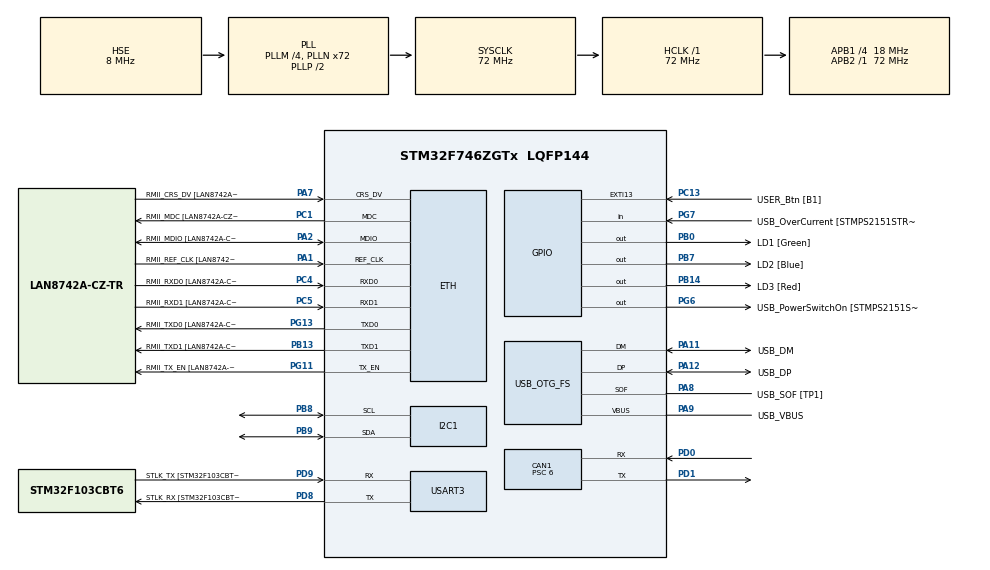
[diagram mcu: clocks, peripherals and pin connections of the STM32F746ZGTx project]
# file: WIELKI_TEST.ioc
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CAN1.BS1=CAN_BS1_4TQ
CAN1.CalculateBaudRate=499999
CAN1.CalculateTimeBit=2000
CAN1.CalculateTimeQuantum=333.33333333333337
CAN1.Prescaler=6
CAN1.SJW=CAN_SJW_1TQ
ETH.MediaInterface=HAL_ETH_RMII_MODE
ETH.PHY_Name=LAN8742A_PHY_ADDRESS
ETH.PHY_Value=0
ETH.PhyAddress=0
I2C1.Timing=0x00404567
Mcu.Family=STM32F7
Mcu.Name=STM32F746ZGTx
Mcu.Package=LQFP144
NVIC.CAN1_RX0_IRQn=true\:0\:0\:false\:false\:true\:true\:true\:true
NVIC.CAN1_RX1_IRQn=true\:0\:0\:false\:false\:true\:true\:true\:true
NVIC.CAN1_SCE_IRQn=true\:0\:0\:false\:false\:true\:true\:true\:true
NVIC.CAN1_TX_IRQn=true\:0\:0\:false\:false\:true\:true\:true\:true
NVIC.PriorityGroup=NVIC_PRIORITYGROUP_4
PA1.GPIO_Label=RMII_REF_CLK [LAN8742A-CZ-TR_REFCLK0]
PA1.Mode=RMII
PA1.Signal=ETH_REF_CLK
PA10.GPIO_Label=USB_ID
PA10.Signal=USB_OTG_FS_ID
PA11.GPIO_Label=USB_DM
PA11.Mode=Device_Only
PA11.Signal=USB_OTG_FS_DM
PA12.GPIO_Label=USB_DP
PA12.Mode=Device_Only
PA12.Signal=USB_OTG_FS_DP
PA13.GPIO_Label=TMS
PA13.Mode=Serial_Wire
PA13.Signal=SYS_JTMS-SWDIO
PA14.GPIO_Label=TCK
PA14.Mode=Serial_Wire
PA14.Signal=SYS_JTCK-SWCLK
PA2.GPIO_Label=RMII_MDIO [LAN8742A-CZ-TR_MDIO]
PA2.Mode=RMII
PA2.Signal=ETH_MDIO
PA7.GPIO_Label=RMII_CRS_DV [LAN8742A-CZ-TR_CRS_DV]
PA7.Mode=RMII
PA7.Signal=ETH_CRS_DV
PA8.GPIO_Label=USB_SOF [TP1]
PA8.Mode=Activate_SOF_FS
PA8.Signal=USB_OTG_FS_SOF
PA9.GPIO_Label=USB_VBUS
PA9.Mode=Activate_VBUS
PA9.Signal=USB_OTG_FS_VBUS
PB0.GPIO_Label=LD1 [Green]
PB0.Signal=GPIO_Output
PB13.GPIO_Label=RMII_TXD1 [LAN8742A-CZ-TR_TXD1]
PB13.Mode=RMII
PB13.Signal=ETH_TXD1
PB14.GPIO_Label=LD3 [Red]
PB14.Signal=GPIO_Output
PB3.GPIO_Label=SW0
PB3.Signal=SYS_JTDO-SWO
PB7.GPIO_Label=LD2 [Blue]
PB7.Signal=GPIO_Output
PB8.Mode=I2C
PB8.Signal=I2C1_SCL
PB9.Mode=I2C
PB9.Signal=I2C1_SDA
PC1.GPIO_Label=RMII_MDC [LAN8742A-CZ-TR_MDC]
PC1.Mode=RMII
PC1.Signal=ETH_MDC
PC13.GPIO_Label=USER_Btn [B1]
PC13.Signal=GPXTI13
PC14/OSC32_IN.Mode=LSE-External-Oscillator
PC14/OSC32_IN.Signal=RCC_OSC32_IN
PC15/OSC32_OUT.Mode=LSE-External-Oscillator
PC15/OSC32_OUT.Signal=RCC_OSC32_OUT
PC4.GPIO_Label=RMII_RXD0 [LAN8742A-CZ-TR_RXD0]
PC4.Mode=RMII
PC4.Signal=ETH_RXD0
PC5.GPIO_Label=RMII_RXD1 [LAN8742A-CZ-TR_RXD1]
PC5.Mode=RMII
PC5.Signal=ETH_RXD1
PD0.Mode=CAN_Activate
PD0.Signal=CAN1_RX
PD1.Mode=CAN_Activate
PD1.Signal=CAN1_TX
PD8.GPIO_Label=STLK_RX [STM32F103CBT6_PA3]
PD8.GPIO_PuPd=GPIO_PULLUP
PD8.Mode=Asynchronous
PD8.Signal=USART3_TX
PD9.GPIO_Label=STLK_TX [STM32F103CBT6_PA2]
PD9.GPIO_PuPd=GPIO_PULLUP
PD9.Mode=Asynchronous
PD9.Signal=USART3_RX
PG11.GPIO_Label=RMII_TX_EN [LAN8742A-CZ-TR_TXEN]
PG11.Mode=RMII
PG11.Signal=ETH_TX_EN
PG13.GPIO_Label=RMII_TXD0 [LAN8742A-CZ-TR_TXD0]
PG13.Mode=RMII
PG13.Signal=ETH_TXD0
PG6.GPIO_Label=USB_PowerSwitchOn [STMPS2151STR_EN]
PG6.Signal=GPIO_Output
PG7.GPIO_Label=USB_OverCurrent [STMPS2151STR_FAULT]
PG7.Signal=GPIO_Input
PH0/OSC_IN.GPIO_Label=MCO [STM32F103CBT6_PA8]
PH0/OSC_IN.Mode=HSE-External-Clock-Source
PH0/OSC_IN.Signal=RCC_OSC_IN
PH1/OSC_OUT.Mode=HSE-External-Clock-Source
PH1/OSC_OUT.Signal=RCC_OSC_OUT
ProjectManager.HeapSize=0x200
ProjectManager.StackSize=0x400
ProjectManager.TargetToolchain=STM32CubeIDE
RCC.48MHZClocksFreq_Value=24000000
RCC.AHBFreq_Value=72000000
RCC.APB1CLKDivider=RCC_HCLK_DIV4
RCC.APB1Freq_Value=18000000
RCC.APB1TimFreq_Value=36000000
RCC.APB2Freq_Value=72000000
RCC.APB2TimFreq_Value=72000000
RCC.CortexFreq_Value=72000000
RCC.HCLKFreq_Value=72000000
RCC.HSE_VALUE=8000000
RCC.HSI_VALUE=16000000
RCC.PLLM=4
RCC.PLLMUL=RCC_PLL_MUL9
RCC.PLLN=72
RCC.PLLQ=3
RCC.PRESCALERUSB=RCC_USBCLKSOURCE_PLL_DIV1_5
RCC.SYSCLKFreq_VALUE=72000000
RCC.SYSCLKSource=RCC_SYSCLKSOURCE_PLLCLK
RCC.SYSCLKSourceVirtual=RCC_SYSCLKSOURCE_PLLCLK
RCC.USBFreq_Value=48000000
RCC.VCOOutputFreq_Value=144000000
USART3.VirtualMode-Asynchronous=VM_ASYNC
USB_OTG_FS.VirtualMode=Device_Only
board=NUCLEO-F746ZG

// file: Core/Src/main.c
/* USER CODE BEGIN Header */
/**
  ******************************************************************************
  * @file           : main.c
  * @brief          : Main program body
  ******************************************************************************
  * @attention
  *
  * Copyright (c) 2025 STMicroelectronics.
  * All rights reserved.
  *
  * This software is licensed under terms that can be found in the LICENSE file
  * in the root directory of this software component.
  * If no LICENSE file comes with this software, it is provided AS-IS.
  *
  ******************************************************************************
  */
/* USER CODE END Header */
#include "main.h"
#include "string.h"

#if defined ( __ICCARM__ ) /*!< IAR Compiler */
#pragma location=0x2004c000
ETH_DMADescTypeDef  DMARxDscrTab[ETH_RX_DESC_CNT]; /* Ethernet Rx DMA Descriptors */
#pragma location=0x2004c0a0
ETH_DMADescTypeDef  DMATxDscrTab[ETH_TX_DESC_CNT]; /* Ethernet Tx DMA Descriptors */

#elif defined ( __CC_ARM )  /* MDK ARM Compiler */

__attribute__((at(0x2004c000))) ETH_DMADescTypeDef  DMARxDscrTab[ETH_RX_DESC_CNT]; /* Ethernet Rx DMA Descriptors */
__attribute__((at(0x2004c0a0))) ETH_DMADescTypeDef  DMATxDscrTab[ETH_TX_DESC_CNT]; /* Ethernet Tx DMA Descriptors */

#elif defined ( __GNUC__ ) /* GNU Compiler */

ETH_DMADescTypeDef DMARxDscrTab[ETH_RX_DESC_CNT] __attribute__((section(".RxDecripSection"))); /* Ethernet Rx DMA Descriptors */
ETH_DMADescTypeDef DMATxDscrTab[ETH_TX_DESC_CNT] __attribute__((section(".TxDecripSection")));   /* Ethernet Tx DMA Descriptors */
#endif

ETH_TxPacketConfig TxConfig;

CAN_HandleTypeDef hcan1;

ETH_HandleTypeDef heth;

I2C_HandleTypeDef hi2c1;

UART_HandleTypeDef huart3;

PCD_HandleTypeDef hpcd_USB_OTG_FS;

/* USER CODE BEGIN PV */
/* USER CODE BEGIN PV */

// Zmienne do podglądu w Live Expressions
volatile float VESC_Voltage = 0.0f;      // Napięcie baterii/zasilacza
volatile float VESC_MosfetTemp = 0.0f;   // Temperatura sterownika
volatile float VESC_MotorTemp = 0.0f;    // Temperatura silnika

/* USER CODE END PV */

void SystemClock_Config(void);
static void MX_GPIO_Init(void);
static void MX_ETH_Init(void);
static void MX_I2C1_Init(void);
static void MX_USART3_UART_Init(void);
static void MX_USB_OTG_FS_PCD_Init(void);
static void MX_CAN1_Init(void);

int main(void)
{

  /* MCU Configuration--------------------------------------------------------*/

  /* Reset of all peripherals, Initializes the Flash interface and the Systick. */
  HAL_Init();

  /* Configure the system clock */
  SystemClock_Config();

  /* Initialize all configured peripherals */
  MX_GPIO_Init();
  MX_ETH_Init();
  MX_I2C1_Init();
  MX_USART3_UART_Init();
  MX_USB_OTG_FS_PCD_Init();
  MX_CAN1_Init();
  /* USER CODE BEGIN 2 */
  // 1. Konfiguracja filtra CAN (przepuszcza WSZYSTKO)
    CAN_FilterTypeDef sFilterConfig;

    sFilterConfig.FilterBank = 0;
    sFilterConfig.FilterMode = CAN_FILTERMODE_IDMASK;
    sFilterConfig.FilterScale = CAN_FILTERSCALE_32BIT;
    sFilterConfig.FilterIdHigh = 0x0000;
    sFilterConfig.FilterIdLow = 0x0000;
    sFilterConfig.FilterMaskIdHigh = 0x0000;
    sFilterConfig.FilterMaskIdLow = 0x0000; // Maska 0 = brak filtrowania
    sFilterConfig.FilterFIFOAssignment = CAN_RX_FIFO0;
    sFilterConfig.FilterActivation = ENABLE;
    sFilterConfig.SlaveStartFilterBank = 14;

    if (HAL_CAN_ConfigFilter(&hcan1, &sFilterConfig) != HAL_OK)
    {
      Error_Handler();
    }

    // 2. Start modułu CAN
    if (HAL_CAN_Start(&hcan1) != HAL_OK)
    {
      Error_Handler();
    }

    // 3. Włączenie przerwania od przychodzącej wiadomości (FIFO 0)
    if (HAL_CAN_ActivateNotification(&hcan1, CAN_IT_RX_FIFO0_MSG_PENDING) != HAL_OK)
    {
      Error_Handler();
    }
  /* USER CODE END 2 */

  /* Infinite loop */
  while (1)
  {

  }
}

void SystemClock_Config(void)
{
  RCC_OscInitTypeDef RCC_OscInitStruct = {0};
  RCC_ClkInitTypeDef RCC_ClkInitStruct = {0};

  /** Configure LSE Drive Capability
  */
  HAL_PWR_EnableBkUpAccess();

  /** Configure the main internal regulator output voltage
  */
  __HAL_RCC_PWR_CLK_ENABLE();
  __HAL_PWR_VOLTAGESCALING_CONFIG(PWR_REGULATOR_VOLTAGE_SCALE3);

  /** Initializes the RCC Oscillators according to the specified parameters
  * in the RCC_OscInitTypeDef structure.
  */
  RCC_OscInitStruct.OscillatorType = RCC_OSCILLATORTYPE_HSE;
  RCC_OscInitStruct.HSEState = RCC_HSE_BYPASS;
  RCC_OscInitStruct.PLL.PLLState = RCC_PLL_ON;
  RCC_OscInitStruct.PLL.PLLSource = RCC_PLLSOURCE_HSE;
  RCC_OscInitStruct.PLL.PLLM = 4;
  RCC_OscInitStruct.PLL.PLLN = 72;
  RCC_OscInitStruct.PLL.PLLP = RCC_PLLP_DIV2;
  RCC_OscInitStruct.PLL.PLLQ = 3;
  if (HAL_RCC_OscConfig(&RCC_OscInitStruct) != HAL_OK)
  {
    Error_Handler();
  }

  /** Initializes the CPU, AHB and APB buses clocks
  */
  RCC_ClkInitStruct.ClockType = RCC_CLOCKTYPE_HCLK|RCC_CLOCKTYPE_SYSCLK
                              |RCC_CLOCKTYPE_PCLK1|RCC_CLOCKTYPE_PCLK2;
  RCC_ClkInitStruct.SYSCLKSource = RCC_SYSCLKSOURCE_PLLCLK;
  RCC_ClkInitStruct.AHBCLKDivider = RCC_SYSCLK_DIV1;
  RCC_ClkInitStruct.APB1CLKDivider = RCC_HCLK_DIV4;
  RCC_ClkInitStruct.APB2CLKDivider = RCC_HCLK_DIV1;

  if (HAL_RCC_ClockConfig(&RCC_ClkInitStruct, FLASH_LATENCY_2) != HAL_OK)
  {
    Error_Handler();
  }
}

static void MX_CAN1_Init(void)
{

  hcan1.Instance = CAN1;
  hcan1.Init.Prescaler = 6;
  hcan1.Init.Mode = CAN_MODE_NORMAL;
  hcan1.Init.SyncJumpWidth = CAN_SJW_1TQ;
  hcan1.Init.TimeSeg1 = CAN_BS1_4TQ;
  hcan1.Init.TimeSeg2 = CAN_BS2_1TQ;
  hcan1.Init.TimeTriggeredMode = DISABLE;
  hcan1.Init.AutoBusOff = DISABLE;
  hcan1.Init.AutoWakeUp = DISABLE;
  hcan1.Init.AutoRetransmission = DISABLE;
  hcan1.Init.ReceiveFifoLocked = DISABLE;
  hcan1.Init.TransmitFifoPriority = DISABLE;
  if (HAL_CAN_Init(&hcan1) != HAL_OK)
  {
    Error_Handler();
  }

}

static void MX_ETH_Init(void)
{

   static uint8_t MACAddr[6];

  heth.Instance = ETH;
  MACAddr[0] = 0x00;
  MACAddr[1] = 0x80;
  MACAddr[2] = 0xE1;
  MACAddr[3] = 0x00;
  MACAddr[4] = 0x00;
  MACAddr[5] = 0x00;
  heth.Init.MACAddr = &MACAddr[0];
  heth.Init.MediaInterface = HAL_ETH_RMII_MODE;
  heth.Init.TxDesc = DMATxDscrTab;
  heth.Init.RxDesc = DMARxDscrTab;
  heth.Init.RxBuffLen = 1524;

  if (HAL_ETH_Init(&heth) != HAL_OK)
  {
    Error_Handler();
  }

  memset(&TxConfig, 0 , sizeof(ETH_TxPacketConfig));
  TxConfig.Attributes = ETH_TX_PACKETS_FEATURES_CSUM | ETH_TX_PACKETS_FEATURES_CRCPAD;
  TxConfig.ChecksumCtrl = ETH_CHECKSUM_IPHDR_PAYLOAD_INSERT_PHDR_CALC;
  TxConfig.CRCPadCtrl = ETH_CRC_PAD_INSERT;

}

static void MX_I2C1_Init(void)
{

  hi2c1.Instance = I2C1;
  hi2c1.Init.Timing = 0x00404567;
  hi2c1.Init.OwnAddress1 = 0;
  hi2c1.Init.AddressingMode = I2C_ADDRESSINGMODE_7BIT;
  hi2c1.Init.DualAddressMode = I2C_DUALADDRESS_DISABLE;
  hi2c1.Init.OwnAddress2 = 0;
  hi2c1.Init.OwnAddress2Masks = I2C_OA2_NOMASK;
  hi2c1.Init.GeneralCallMode = I2C_GENERALCALL_DISABLE;
  hi2c1.Init.NoStretchMode = I2C_NOSTRETCH_DISABLE;
  if (HAL_I2C_Init(&hi2c1) != HAL_OK)
  {
    Error_Handler();
  }

  /** Configure Analogue filter
  */
  if (HAL_I2CEx_ConfigAnalogFilter(&hi2c1, I2C_ANALOGFILTER_ENABLE) != HAL_OK)
  {
    Error_Handler();
  }

  /** Configure Digital filter
  */
  if (HAL_I2CEx_ConfigDigitalFilter(&hi2c1, 0) != HAL_OK)
  {
    Error_Handler();
  }

}

static void MX_USART3_UART_Init(void)
{

  huart3.Instance = USART3;
  huart3.Init.BaudRate = 115200;
  huart3.Init.WordLength = UART_WORDLENGTH_8B;
  huart3.Init.StopBits = UART_STOPBITS_1;
  huart3.Init.Parity = UART_PARITY_NONE;
  huart3.Init.Mode = UART_MODE_TX_RX;
  huart3.Init.HwFlowCtl = UART_HWCONTROL_NONE;
  huart3.Init.OverSampling = UART_OVERSAMPLING_16;
  huart3.Init.OneBitSampling = UART_ONE_BIT_SAMPLE_DISABLE;
  huart3.AdvancedInit.AdvFeatureInit = UART_ADVFEATURE_NO_INIT;
  if (HAL_UART_Init(&huart3) != HAL_OK)
  {
    Error_Handler();
  }

}

static void MX_USB_OTG_FS_PCD_Init(void)
{

  hpcd_USB_OTG_FS.Instance = USB_OTG_FS;
  hpcd_USB_OTG_FS.Init.dev_endpoints = 6;
  hpcd_USB_OTG_FS.Init.speed = PCD_SPEED_FULL;
  hpcd_USB_OTG_FS.Init.dma_enable = DISABLE;
  hpcd_USB_OTG_FS.Init.phy_itface = PCD_PHY_EMBEDDED;
  hpcd_USB_OTG_FS.Init.Sof_enable = ENABLE;
  hpcd_USB_OTG_FS.Init.low_power_enable = DISABLE;
  hpcd_USB_OTG_FS.Init.lpm_enable = DISABLE;
  hpcd_USB_OTG_FS.Init.vbus_sensing_enable = ENABLE;
  hpcd_USB_OTG_FS.Init.use_dedicated_ep1 = DISABLE;
  if (HAL_PCD_Init(&hpcd_USB_OTG_FS) != HAL_OK)
  {
    Error_Handler();
  }

}

static void MX_GPIO_Init(void)
{
  GPIO_InitTypeDef GPIO_InitStruct = {0};

  /* GPIO Ports Clock Enable */
  __HAL_RCC_GPIOC_CLK_ENABLE();
  __HAL_RCC_GPIOH_CLK_ENABLE();
  __HAL_RCC_GPIOA_CLK_ENABLE();
  __HAL_RCC_GPIOB_CLK_ENABLE();
  __HAL_RCC_GPIOD_CLK_ENABLE();
  __HAL_RCC_GPIOG_CLK_ENABLE();

  /*Configure GPIO pin Output Level */
  HAL_GPIO_WritePin(GPIOB, LD1_Pin|LD3_Pin|LD2_Pin, GPIO_PIN_RESET);

  /*Configure GPIO pin Output Level */
  HAL_GPIO_WritePin(USB_PowerSwitchOn_GPIO_Port, USB_PowerSwitchOn_Pin, GPIO_PIN_RESET);

  /*Configure GPIO pin : USER_Btn_Pin */
  GPIO_InitStruct.Pin = USER_Btn_Pin;
  GPIO_InitStruct.Mode = GPIO_MODE_IT_RISING;
  GPIO_InitStruct.Pull = GPIO_NOPULL;
  HAL_GPIO_Init(USER_Btn_GPIO_Port, &GPIO_InitStruct);

  /*Configure GPIO pins : LD1_Pin LD3_Pin LD2_Pin */
  GPIO_InitStruct.Pin = LD1_Pin|LD3_Pin|LD2_Pin;
  GPIO_InitStruct.Mode = GPIO_MODE_OUTPUT_PP;
  GPIO_InitStruct.Pull = GPIO_NOPULL;
  GPIO_InitStruct.Speed = GPIO_SPEED_FREQ_LOW;
  HAL_GPIO_Init(GPIOB, &GPIO_InitStruct);

  /*Configure GPIO pin : USB_PowerSwitchOn_Pin */
  GPIO_InitStruct.Pin = USB_PowerSwitchOn_Pin;
  GPIO_InitStruct.Mode = GPIO_MODE_OUTPUT_PP;
  GPIO_InitStruct.Pull = GPIO_NOPULL;
  GPIO_InitStruct.Speed = GPIO_SPEED_FREQ_LOW;
  HAL_GPIO_Init(USB_PowerSwitchOn_GPIO_Port, &GPIO_InitStruct);

  /*Configure GPIO pin : USB_OverCurrent_Pin */
  GPIO_InitStruct.Pin = USB_OverCurrent_Pin;
  GPIO_InitStruct.Mode = GPIO_MODE_INPUT;
  GPIO_InitStruct.Pull = GPIO_NOPULL;
  HAL_GPIO_Init(USB_OverCurrent_GPIO_Port, &GPIO_InitStruct);

}

/* USER CODE BEGIN 4 */
void HAL_CAN_RxFifo0Callback(FDCAN_HandleTypeDef *hfdcan, uint32_t RxFifo0ITs)
{
    // 1. Sprawdź, czy przerwanie dotyczy nowej wiadomości w FIFO0
    if ((RxFifo0ITs & FDCAN_IT_RX_FIFO0_NEW_MESSAGE) != 0)
    {
        FDCAN_RxHeaderTypeDef RxHeader;
        uint8_t RxData[8];

        // 2. Pobierz wiadomość
        if (HAL_FDCAN_GetRxMessage(hfdcan, FDCAN_RX_FIFO0, &RxHeader, RxData) == HAL_OK)
        {
            // --- LOGIKA DLA VESC ID = 3 ---

            // STATUS 4 (Temperatury)
            // Komenda 16 (0x10) przesunięta o 8 bitów + ID 3 -> 0x1003
            if (RxHeader.Identifier == 0x00001003)
            {
                // Bajt 0 i 1: Temp MOSFET
                int16_t temp_fet_raw = (int16_t)((RxData[0] << 8) | RxData[1]);
                VESC_MosfetTemp = (float)temp_fet_raw / 10.0f;

                // Bajt 2 i 3: Temp Silnika
                int16_t temp_motor_raw = (int16_t)((RxData[2] << 8) | RxData[3]);
                VESC_MotorTemp = (float)temp_motor_raw / 10.0f;
            }

            // STATUS 5 (Napięcie)
            // Komenda 27 (0x1B) przesunięta o 8 bitów + ID 3 -> 0x1B03
            else if (RxHeader.Identifier == 0x00001B03)
            {
                // Bajt 4 i 5: Napięcie wejściowe
                // (W Status 5 bajty 0-3 to Tacho, napięcie jest dalej)
                int16_t voltage_raw = (int16_t)((RxData[4] << 8) | RxData[5]);
                VESC_Voltage = (float)voltage_raw / 10.0f;
            }
        }
    }
}
/* USER CODE END 4 */

void Error_Handler(void)
{
  __disable_irq();
  while (1)
  {
  }
}
